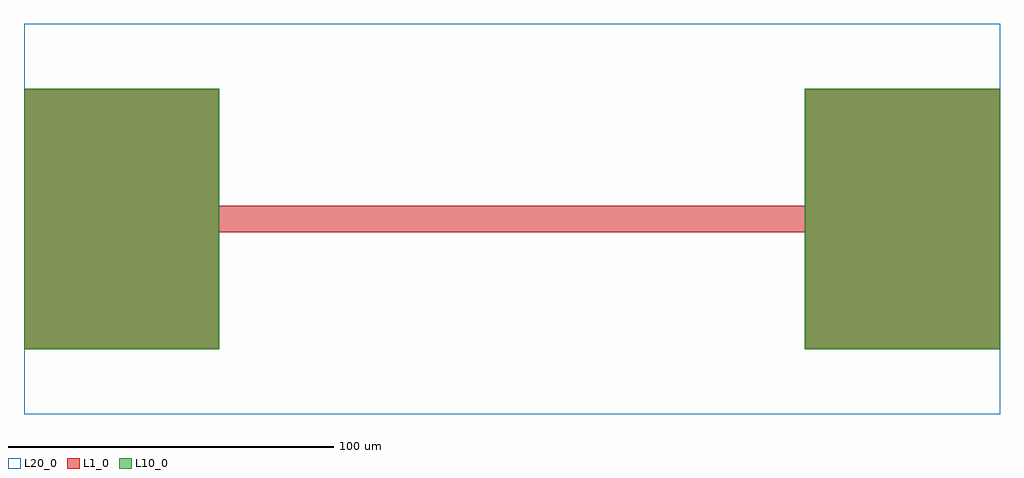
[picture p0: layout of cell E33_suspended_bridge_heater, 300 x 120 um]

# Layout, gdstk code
import gdstk
lib = gdstk.Library(unit=1e-6, precision=1e-09)
def R(c, l, rs):  # rectangles x0, y0, x1, y1
    for r in rs: c.add(gdstk.rectangle(r[:2], r[2:], *l))
L1_0 = (1, 0)
L10_0 = (10, 0)
L20_0 = (20, 0)

e33_suspended_bridge_hea = lib.new_cell('E33_suspended_bridge_heater')
R(e33_suspended_bridge_hea, L1_0, [(0,20,60,100), (240,20,300,100), (50,56,250,64)])
R(e33_suspended_bridge_hea, L10_0, [(0,20,60,100), (240,20,300,100)])
R(e33_suspended_bridge_hea, L20_0, [(0,0,300,120)])

lib.write_gds('E33_suspended_bridge_heater.gds')
